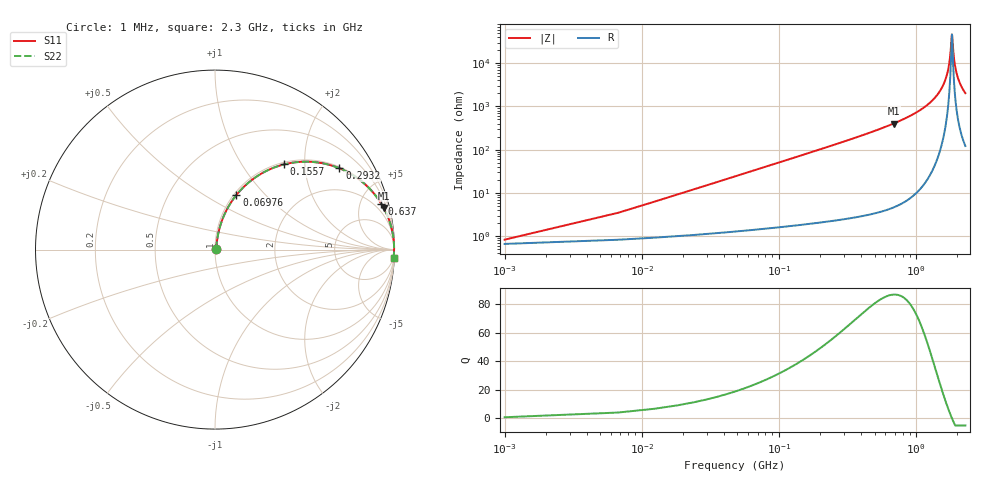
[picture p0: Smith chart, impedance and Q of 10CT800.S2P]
! Coilcraft 1008CT-800 Chip Inductor
! 17 July 2002
# MHZ S MA R 50
!Freq  MagS11  AngS11  MagS21  AngS21  MagS12  AngS12  MagS22  AngS22
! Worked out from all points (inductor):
!   403 points, 1 MHz to 2.3 GHz, reference 50 ohm
!   read as one part in series: L = 80 nH near 12.46 MHz
!   highest Q = 87 at 688.6 MHz (marker M1), where L = 93.1 nH
!   self-resonance near 1.835 GHz
!   S11 on the Smith chart (normalised r, x): 1 MHz: 1.01, +0.01; 69.76 MHz: 1.03, +0.70; 155.7 MHz: 1.04, +1.58; 293.2 MHz: 1.05, +3.03; 637 MHz: 1.08, +7.28; 2.3 GHz: 3, -40
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1  0.008273 36.8  0.9934 -0.3  0.9934 -0.3  0.008273 36.8
18.19  0.09071 78.6  0.986 -5.2  0.986 -5.2  0.09071 78.6
23.92  0.1186 78.1  0.9825 -6.8  0.9825 -6.8  0.1186 78.1
41.11  0.2005 75.1  0.9679 -11.5  0.9679 -11.5  0.2005 75.1
69.76  0.3274 68.6  0.9316 -19.1  0.9316 -19.1  0.3274 68.6
155.71  0.6122 50.9  0.7763 -37.7  0.7763 -37.7  0.6122 50.9
293.23  0.8281 33.2  0.5474 -55.9  0.5474 -55.9  0.8281 33.2
384.91  0.8916 26.1  0.4405 -63.1  0.4405 -63.1  0.8916 26.1
637.03  0.9614 15.3  0.2641 -74.0  0.2641 -74.0  0.9614 15.3
688.6  0.9679 13.9  0.2403 -75.4  0.2403 -75.4  0.9679 13.9
768.82  0.9757 12.0  0.2082 -77.3  0.2082 -77.3  0.9757 12.0
1152.73  0.9929 6.0  0.1038 -83.1  0.1038 -83.1  0.9929 6.0
1536.64  0.9974 2.2  0.03866 -85.1  0.03866 -85.1  0.9974 2.2
1645.51  0.9978 1.4  0.02375 -84.0  0.02375 -84.0  0.9978 1.4
1725.73  0.9979 0.8  0.0135 -80.6  0.0135 -80.6  0.9979 0.8
1777.3  0.9979 0.4  0.007276 -72.9  0.007276 -72.9  0.9979 0.4
1834.6  0.9978 0.0  0.002165 -2.8  0.002165 -2.8  0.9978 0.0
1886.17  0.9977 -0.3  0.006298 68.9  0.006298 68.9  0.9977 -0.3
1920.55  0.9977 -0.6  0.01006 76.3  0.01006 76.3  0.9977 -0.6
1977.85  0.9975 -0.9  0.01633 80.7  0.01633 80.7  0.9975 -0.9
2058.07  0.9972 -1.4  0.02491 82.8  0.02491 82.8  0.9972 -1.4
2300  0.9958 -2.8  0.04918 83.7  0.04918 83.7  0.9958 -2.8
